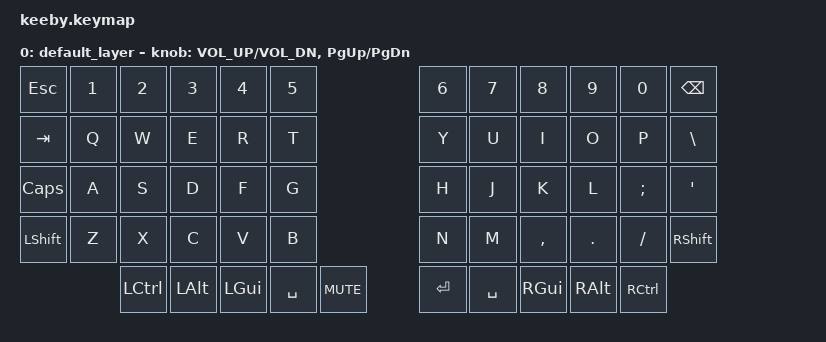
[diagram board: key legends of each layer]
#include <behaviors.dtsi>
#include <dt-bindings/zmk/keys.h>
#include <dt-bindings/zmk/bt.h>
#include <dt-bindings/zmk/rgb.h>

/ {
    keymap {
        compatible = "zmk,keymap";

        default_layer {
            bindings = <
    &kp ESC   &kp N1 &kp N2 &kp N3 &kp N4 &kp N5                       &kp N6 &kp N7 &kp N8    &kp N9  &kp N0   &kp BSPC
    &kp TAB   &kp Q  &kp W  &kp E  &kp R  &kp T                        &kp Y  &kp U  &kp I     &kp O   &kp P    &kp BSLH
    &kp CAPS  &kp A  &kp S  &kp D  &kp F  &kp G                        &kp H  &kp J  &kp K     &kp L   &kp SEMI &kp SQT
    &kp LSHFT &kp Z  &kp X  &kp C  &kp V  &kp B                        &kp N  &kp M  &kp COMMA &kp DOT &kp FSLH &kp RSHFT
                     &kp LCTRL &kp LALT &kp LGUI &kp SPACE &kp C_MUTE  &kp RET &kp SPACE &kp RGUI &kp RALT &kp RCTRL
            >;
            
            sensor-bindings = <&inc_dec_kp C_VOL_UP C_VOL_DN &inc_dec_kp PG_UP PG_DN>;
        };
    };
};
